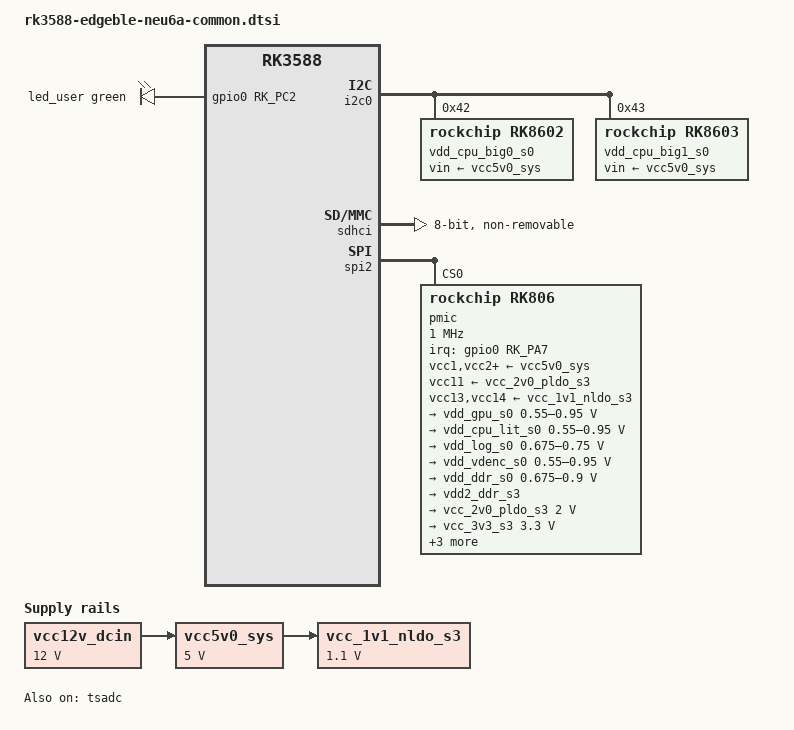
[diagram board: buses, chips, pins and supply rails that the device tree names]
// SPDX-License-Identifier: (GPL-2.0+ OR MIT)
/*
 * Copyright (c) 2023 Edgeble AI Technologies Pvt. Ltd.
 */

#include <dt-bindings/gpio/gpio.h>
#include <dt-bindings/leds/common.h>

/ {
	aliases {
		mmc0 = &sdhci;
	};

	gpio-leds {
		compatible = "gpio-leds";

		led_user: led-0 {
			color = <LED_COLOR_ID_GREEN>;
			function = LED_FUNCTION_HEARTBEAT;
			gpios = <&gpio0 RK_PC2 GPIO_ACTIVE_HIGH>;
			linux,default-trigger = "heartbeat";
			pinctrl-names = "default";
			pinctrl-0 = <&led_user_en>;
		};
	};

	vcc12v_dcin: regulator-vcc12v-dcin {
		compatible = "regulator-fixed";
		regulator-name = "vcc12v_dcin";
		regulator-always-on;
		regulator-boot-on;
		regulator-min-microvolt = <12000000>;
		regulator-max-microvolt = <12000000>;
	};

	vcc5v0_sys: regulator-vcc5v0-sys {
		compatible = "regulator-fixed";
		regulator-name = "vcc5v0_sys";
		regulator-always-on;
		regulator-boot-on;
		regulator-min-microvolt = <5000000>;
		regulator-max-microvolt = <5000000>;
		vin-supply = <&vcc12v_dcin>;
	};

	vcc_1v1_nldo_s3: regulator-vcc-1v1-nldo-s3 {
		compatible = "regulator-fixed";
		regulator-name = "vcc_1v1_nldo_s3";
		regulator-always-on;
		regulator-boot-on;
		regulator-min-microvolt = <1100000>;
		regulator-max-microvolt = <1100000>;
		vin-supply = <&vcc5v0_sys>;
	};
};

&cpu_b0 {
	cpu-supply = <&vdd_cpu_big0_s0>;
};

&cpu_b1 {
	cpu-supply = <&vdd_cpu_big0_s0>;
};

&cpu_b2 {
	cpu-supply = <&vdd_cpu_big1_s0>;
};

&cpu_b3 {
	cpu-supply = <&vdd_cpu_big1_s0>;
};

&cpu_l0 {
	cpu-supply = <&vdd_cpu_lit_s0>;
};

&cpu_l1 {
	cpu-supply = <&vdd_cpu_lit_s0>;
};

&cpu_l2 {
	cpu-supply = <&vdd_cpu_lit_s0>;
};

&cpu_l3 {
	cpu-supply = <&vdd_cpu_lit_s0>;
};

&i2c0 {
	pinctrl-names = "default";
	pinctrl-0 = <&i2c0m2_xfer>;
	status = "okay";

	vdd_cpu_big0_s0: regulator@42 {
		compatible = "rockchip,rk8602";
		reg = <0x42>;
		fcs,suspend-voltage-selector = <1>;
		regulator-name = "vdd_cpu_big0_s0";
		regulator-always-on;
		regulator-boot-on;
		regulator-min-microvolt = <550000>;
		regulator-max-microvolt = <1050000>;
		regulator-ramp-delay = <2300>;
		vin-supply = <&vcc5v0_sys>;

		regulator-state-mem {
			regulator-off-in-suspend;
		};
	};

	vdd_cpu_big1_s0: regulator@43 {
		compatible = "rockchip,rk8603", "rockchip,rk8602";
		reg = <0x43>;
		fcs,suspend-voltage-selector = <1>;
		regulator-name = "vdd_cpu_big1_s0";
		regulator-always-on;
		regulator-boot-on;
		regulator-min-microvolt = <550000>;
		regulator-max-microvolt = <1050000>;
		regulator-ramp-delay = <2300>;
		vin-supply = <&vcc5v0_sys>;

		regulator-state-mem {
			regulator-off-in-suspend;
		};
	};
};

&pinctrl {
	leds {
		led_user_en: led_user_en {
			rockchip,pins = <0 RK_PC2 RK_FUNC_GPIO &pcfg_pull_none>;
		};
	};
};

&sdhci {
	bus-width = <8>;
	no-sdio;
	no-sd;
	non-removable;
	mmc-hs400-1_8v;
	mmc-hs400-enhanced-strobe;
	status = "okay";
};

&spi2 {
	status = "okay";
	assigned-clocks = <&cru CLK_SPI2>;
	assigned-clock-rates = <200000000>;
	num-cs = <1>;
	pinctrl-names = "default";
	pinctrl-0 = <&spi2m2_cs0 &spi2m2_pins>;

	pmic@0 {
		compatible = "rockchip,rk806";
		spi-max-frequency = <1000000>;
		reg = <0x0>;
		interrupt-parent = <&gpio0>;
		interrupts = <RK_PA7 IRQ_TYPE_LEVEL_LOW>;
		pinctrl-names = "default";
		pinctrl-0 = <&pmic_pins>, <&rk806_dvs1_null>,
			    <&rk806_dvs2_null>, <&rk806_dvs3_null>;

		system-power-controller;

		vcc1-supply = <&vcc5v0_sys>;
		vcc2-supply = <&vcc5v0_sys>;
		vcc3-supply = <&vcc5v0_sys>;
		vcc4-supply = <&vcc5v0_sys>;
		vcc5-supply = <&vcc5v0_sys>;
		vcc6-supply = <&vcc5v0_sys>;
		vcc7-supply = <&vcc5v0_sys>;
		vcc8-supply = <&vcc5v0_sys>;
		vcc9-supply = <&vcc5v0_sys>;
		vcc10-supply = <&vcc5v0_sys>;
		vcc11-supply = <&vcc_2v0_pldo_s3>;
		vcc12-supply = <&vcc5v0_sys>;
		vcc13-supply = <&vcc_1v1_nldo_s3>;
		vcc14-supply = <&vcc_1v1_nldo_s3>;
		vcca-supply = <&vcc5v0_sys>;

		gpio-controller;
		#gpio-cells = <2>;

		rk806_dvs1_null: dvs1-null-pins {
			pins = "gpio_pwrctrl1";
			function = "pin_fun0";
		};

		rk806_dvs2_null: dvs2-null-pins {
			pins = "gpio_pwrctrl2";
			function = "pin_fun0";
		};

		rk806_dvs3_null: dvs3-null-pins {
			pins = "gpio_pwrctrl3";
			function = "pin_fun0";
		};

		regulators {
			vdd_gpu_s0: vdd_gpu_mem_s0: dcdc-reg1 {
				regulator-name = "vdd_gpu_s0";
				regulator-boot-on;
				regulator-min-microvolt = <550000>;
				regulator-max-microvolt = <950000>;
				regulator-ramp-delay = <12500>;
				regulator-enable-ramp-delay = <400>;

				regulator-state-mem {
					regulator-off-in-suspend;
				};
			};

			vdd_cpu_lit_s0: vdd_cpu_lit_mem_s0: dcdc-reg2 {
				regulator-name = "vdd_cpu_lit_s0";
				regulator-always-on;
				regulator-boot-on;
				regulator-min-microvolt = <550000>;
				regulator-max-microvolt = <950000>;
				regulator-ramp-delay = <12500>;

				regulator-state-mem {
					regulator-off-in-suspend;
				};
			};

			vdd_log_s0: dcdc-reg3 {
				regulator-name = "vdd_log_s0";
				regulator-always-on;
				regulator-boot-on;
				regulator-min-microvolt = <675000>;
				regulator-max-microvolt = <750000>;
				regulator-ramp-delay = <12500>;

				regulator-state-mem {
					regulator-off-in-suspend;
					regulator-suspend-microvolt = <750000>;
				};
			};

			vdd_vdenc_s0: vdd_vdenc_mem_s0: dcdc-reg4 {
				regulator-name = "vdd_vdenc_s0";
				regulator-always-on;
				regulator-boot-on;
				regulator-min-microvolt = <550000>;
				regulator-max-microvolt = <950000>;
				regulator-ramp-delay = <12500>;

				regulator-state-mem {
					regulator-off-in-suspend;
				};
			};

			vdd_ddr_s0: dcdc-reg5 {
				regulator-name = "vdd_ddr_s0";
				regulator-always-on;
				regulator-boot-on;
				regulator-min-microvolt = <675000>;
				regulator-max-microvolt = <900000>;
				regulator-ramp-delay = <12500>;

				regulator-state-mem {
					regulator-off-in-suspend;
					regulator-suspend-microvolt = <850000>;
				};
			};

			vdd2_ddr_s3: dcdc-reg6 {
				regulator-name = "vdd2_ddr_s3";
				regulator-always-on;
				regulator-boot-on;

				regulator-state-mem {
					regulator-on-in-suspend;
				};
			};

			vcc_2v0_pldo_s3: dcdc-reg7 {
				regulator-name = "vdd_2v0_pldo_s3";
				regulator-always-on;
				regulator-boot-on;
				regulator-min-microvolt = <2000000>;
				regulator-max-microvolt = <2000000>;
				regulator-ramp-delay = <12500>;

				regulator-state-mem {
					regulator-on-in-suspend;
					regulator-suspend-microvolt = <2000000>;
				};
			};

			vcc_3v3_s3: dcdc-reg8 {
				regulator-name = "vcc_3v3_s3";
				regulator-always-on;
				regulator-boot-on;
				regulator-min-microvolt = <3300000>;
				regulator-max-microvolt = <3300000>;

				regulator-state-mem {
					regulator-on-in-suspend;
					regulator-suspend-microvolt = <3300000>;
				};
			};

			vddq_ddr_s0: dcdc-reg9 {
				regulator-name = "vddq_ddr_s0";
				regulator-always-on;
				regulator-boot-on;

				regulator-state-mem {
					regulator-off-in-suspend;
				};
			};

			vcc_1v8_s3: dcdc-reg10 {
				regulator-name = "vcc_1v8_s3";
				regulator-always-on;
				regulator-boot-on;
				regulator-min-microvolt = <1800000>;
				regulator-max-microvolt = <1800000>;

				regulator-state-mem {
					regulator-on-in-suspend;
					regulator-suspend-microvolt = <1800000>;
				};
			};

			avcc_1v8_s0: pldo-reg1 {
				regulator-name = "avcc_1v8_s0";
				regulator-always-on;
				regulator-boot-on;
				regulator-min-microvolt = <1800000>;
				regulator-max-microvolt = <1800000>;

				regulator-state-mem {
					regulator-off-in-suspend;
				};
			};

			vcc_1v8_s0: pldo-reg2 {
				regulator-name = "vcc_1v8_s0";
				regulator-always-on;
				regulator-boot-on;
				regulator-min-microvolt = <1800000>;
				regulator-max-microvolt = <1800000>;

				regulator-state-mem {
					regulator-off-in-suspend;
					regulator-suspend-microvolt = <1800000>;
				};
			};

			avdd_1v2_s0: pldo-reg3 {
				regulator-name = "avdd_1v2_s0";
				regulator-always-on;
				regulator-boot-on;
				regulator-min-microvolt = <1200000>;
				regulator-max-microvolt = <1200000>;

				regulator-state-mem {
					regulator-off-in-suspend;
				};
			};

			vcc_3v3_s0: pldo-reg4 {
				regulator-name = "vcc_3v3_s0";
				regulator-always-on;
				regulator-boot-on;
				regulator-min-microvolt = <3300000>;
				regulator-max-microvolt = <3300000>;
				regulator-ramp-delay = <12500>;

				regulator-state-mem {
					regulator-off-in-suspend;
				};
			};

			vccio_sd_s0: pldo-reg5 {
				regulator-name = "vccio_sd_s0";
				regulator-always-on;
				regulator-boot-on;
				regulator-min-microvolt = <1800000>;
				regulator-max-microvolt = <3300000>;
				regulator-ramp-delay = <12500>;

				regulator-state-mem {
					regulator-off-in-suspend;
				};
			};

			pldo6_s3: pldo-reg6 {
				regulator-name = "pldo6_s3";
				regulator-always-on;
				regulator-boot-on;
				regulator-min-microvolt = <1800000>;
				regulator-max-microvolt = <1800000>;

				regulator-state-mem {
					regulator-on-in-suspend;
					regulator-suspend-microvolt = <1800000>;
				};
			};

			vdd_0v75_s3: nldo-reg1 {
				regulator-name = "vdd_0v75_s3";
				regulator-always-on;
				regulator-boot-on;
				regulator-min-microvolt = <750000>;
				regulator-max-microvolt = <750000>;

				regulator-state-mem {
					regulator-on-in-suspend;
					regulator-suspend-microvolt = <750000>;
				};
			};

			vdd_ddr_pll_s0: nldo-reg2 {
				regulator-name = "vdd_ddr_pll_s0";
				regulator-always-on;
				regulator-boot-on;
				regulator-min-microvolt = <850000>;
				regulator-max-microvolt = <850000>;

				regulator-state-mem {
					regulator-off-in-suspend;
					regulator-suspend-microvolt = <850000>;
				};
			};

			avdd_0v75_s0: nldo-reg3 {
				regulator-name = "avdd_0v75_s0";
				regulator-always-on;
				regulator-boot-on;
				regulator-min-microvolt = <750000>;
				regulator-max-microvolt = <750000>;

				regulator-state-mem {
					regulator-off-in-suspend;
				};
			};

			vdd_0v85_s0: nldo-reg4 {
				regulator-name = "vdd_0v85_s0";
				regulator-always-on;
				regulator-boot-on;
				regulator-min-microvolt = <850000>;
				regulator-max-microvolt = <850000>;

				regulator-state-mem {
					regulator-off-in-suspend;
				};
			};

			vdd_0v75_s0: nldo-reg5 {
				regulator-name = "vdd_0v75_s0";
				regulator-always-on;
				regulator-boot-on;
				regulator-min-microvolt = <750000>;
				regulator-max-microvolt = <750000>;

				regulator-state-mem {
					regulator-off-in-suspend;
				};
			};
		};
	};
};

&tsadc {
	status = "okay";
};
